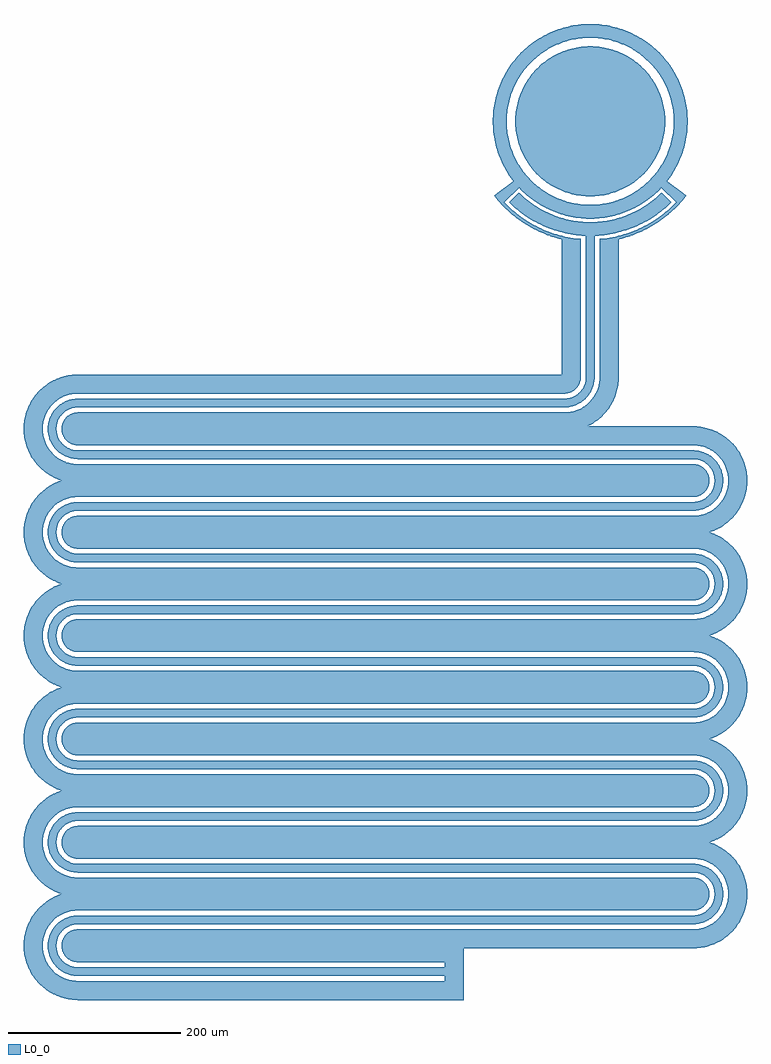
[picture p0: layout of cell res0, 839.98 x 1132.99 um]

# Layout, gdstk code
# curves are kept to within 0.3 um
import gdstk
lib = gdstk.Library(unit=1e-6, precision=1e-09)
def P(c, l, *ps):  # polygons
    for p in ps: c.add(gdstk.Polygon(p, *l))
L0_0 = (0, 0)

res0 = lib.new_cell('res0')
P(res0, L0_0, [(1405.092,2634.589),(1405.536,2629.823),(1427.825,2629.823),(1427.01,2637.093),(1427.81,2646.11),(1430.569,2654.731),(1434.503,2661.625),(1409.602,2661.625),(1407.296,2654.854),(1405.83,2648.192),(1405.092,2641.411)],
  [(1444.013,2630.957),(1443.113,2635.624),(1443.113,2640.376),(1444.013,2645.043),(1445.779,2649.456),(1448.349,2653.454),(1451.628,2656.894),(1455.5,2659.651),(1459.823,2661.625),(1442.189,2661.625),(1439.49,2658.302),(1436.891,2654.038),(1434.925,2649.447),(1433.356,2642.981),(1433.04,2636.335),(1433.971,2629.823),(1444.375,2629.823)],
  [(1916,2635),(2186.546,2635.164),(2193.313,2636.024),(2199.947,2637.611),(2206.372,2639.905),(2212.51,2642.881),(2218.29,2646.502),(2223.646,2650.728),(2228.512,2655.508),(2233.425,2661.625),(2200.905,2661.625),(2196.212,2659.542),(2190.997,2657.999),(2182,2657),(1467.16,2656.981),(1460.632,2655.513),(1456.969,2653.47),(1454.417,2651.286),(1452.29,2648.687),(1450.328,2644.979),(1449.005,2638.42),(1449.375,2634.242),(1450.854,2629.823),(1916,2629.823)],
  [(1435.153,2662.537),(1441.338,2669.147),(1448.823,2674.239),(1457.242,2677.564),(1466.186,2678.96),(2182,2679),(2188.586,2680.178),(2194.225,2683.46),(1424.392,2683.46),(1419.984,2678.785),(1415.856,2673.355),(1412.339,2667.51),(1409.602,2661.625),(1434.503,2661.625)],
  [(1460.957,2661.987),(1468,2663),(2183.665,2663.04),(2188.624,2663.632),(2193.447,2664.925),(2198.038,2666.891),(2201.651,2669.049),(2208.451,2675.08),(2211.444,2679.078),(2213.837,2683.46),(2202.335,2683.46),(2198.372,2679.106),(2193.456,2675.779),(2187.894,2673.705),(2182,2673),(1466.335,2672.96),(1459.748,2672.013),(1453.46,2669.837),(1447.698,2666.51),(1442.189,2661.625),(1459.823,2661.625)],
  [(2234.144,2662.645),(2239.646,2672.584),(2243.298,2683.46),(2220.326,2683.46),(2216.887,2676.462),(2212.55,2670.656),(2207.258,2665.704),(2200.905,2661.625),(2233.425,2661.625)],
  [(2194.355,2683.566),(2197.71,2687.313),(2200.22,2692.61),(2200.995,2698.42),(2199.963,2704.19),(2197.222,2709.371),(2193.031,2713.47),(2187.791,2716.096),(2182.84,2716.981),(1468,2717),(1459.128,2717.974),(1419.363,2717.974),(1426.354,2710.728),(1433.592,2705.226),(1441.547,2700.823),(1448.825,2698),(1441.547,2695.177),(1435.52,2691.982),(1429.874,2688.154),(1424.392,2683.46)],
  [(2214.493,2684.992),(2216.368,2691.376),(2216.96,2699.665),(2215.582,2707.861),(2213.109,2714.038),(2210.732,2717.974),(2197.022,2717.974),(2200.894,2714.372),(2203.651,2710.5),(2205.625,2706.177),(2206.746,2701.558),(2206.972,2696.81),(2206.295,2692.106),(2204.741,2687.615),(2202.335,2683.46),(2213.837,2683.46)],
  [(2243.762,2685.57),(2244.908,2694.589),(2244.908,2701.411),(2243.762,2710.43),(2241.739,2717.974),(2217.806,2717.974),(2221.316,2709.63),(2222.91,2700.719),(2222.509,2691.676),(2220.326,2683.46),(2243.298,2683.46)],
  [(1459.003,2717.999),(1450.445,2720.949),(1442.742,2725.704),(1436.271,2732.034),(1431.328,2739.666),(1407.736,2739.666),(1412.339,2728.49),(1415.856,2722.645),(1419.363,2717.974)],
  [(2210.51,2718.302),(2205.987,2723.482),(2199.5,2728.311),(2191.861,2731.582),(2183.665,2732.96),(1468,2733),(1463.269,2733.452),(1458.708,2734.791),(1454.484,2736.969),(1451.013,2739.666),(1438.197,2739.666),(1443.847,2732.669),(1450.5,2727.689),(1458.139,2724.418),(1466.335,2723.04),(2182,2723),(2185.558,2722.746),(2190.177,2721.625),(2193.456,2720.221),(2197.022,2717.974),(2210.732,2717.974)],
  [(2241.329,2719.191),(2239.646,2723.416),(2236.56,2729.5),(2232.834,2735.214),(2229.24,2739.666),(1463.015,2739.666),(1465.485,2739.167),(1468,2739),(2183.814,2738.96),(2189.219,2738.359),(2194.497,2737.049),(2199.555,2735.051),(2204.305,2732.402),(2208.662,2729.147),(2212.55,2725.344),(2214.847,2722.537),(2217.806,2717.974),(2241.739,2717.974)],
  [(1430.569,2741.269),(1427.81,2749.89),(1427.01,2758.907),(1428.208,2767.88),(1430.816,2775.252),(1407.414,2775.252),(1405.502,2765.941),(1405.01,2756.863),(1405.83,2747.808),(1407.736,2739.666),(1431.328,2739.666)],
  [(1450.748,2739.907),(1447.636,2743.499),(1445.259,2747.615),(1443.705,2752.106),(1443.028,2756.81),(1443.254,2761.558),(1444.375,2766.177),(1446.364,2770.525),(1449.907,2775.252),(1437.554,2775.252),(1434.418,2767.861),(1433.04,2759.665),(1433.509,2752.106),(1435.507,2744.992),(1438.197,2739.666)],
  [(2228.512,2740.492),(2221.912,2746.745),(2216.408,2750.774),(2208.453,2755.177),(2201.175,2758),(2208.453,2760.823),(2216.408,2765.226),(2221.912,2769.255),(2228.27,2775.252),(1460.048,2775.252),(1455.645,2772.434),(1452.29,2768.687),(1449.78,2763.39),(1449.005,2758.42),(1449.78,2752.61),(1452.778,2746.629),(1456.969,2742.53),(1463.015,2739.666),(2229.24,2739.666)],
  [(1431.346,2776.371),(1435.153,2782.537),(1441.338,2789.147),(1448.823,2794.239),(1456.295,2797.284),(1418.755,2797.284),(1412.339,2787.51),(1409.474,2781.319),(1407.414,2775.252),(1430.816,2775.252)],
  [(1450.748,2776.093),(1454.484,2779.031),(1458.708,2781.209),(1463.269,2782.548),(1468,2783),(2183.665,2783.04),(2191.861,2784.418),(2198.038,2786.891),(2204.92,2791.549),(2210.2,2797.284),(2195.981,2797.284),(2189.043,2794.013),(2182,2793),(1466.335,2792.96),(1459.748,2792.013),(1453.46,2789.837),(1447.698,2786.51),(1442.669,2782.153),(1437.554,2775.252),(1449.907,2775.252)],
  [(2228.512,2775.508),(2232.834,2780.786),(2236.56,2786.5),(2239.646,2792.584),(2241.489,2797.284),(2217.37,2797.284),(2214.847,2793.463),(2211.31,2789.331),(2207.258,2785.704),(2202.761,2782.645),(2197.899,2780.208),(2192.758,2778.436),(2183.814,2777.04),(1468,2777),(1463.831,2776.537),(1460.048,2775.252),(2228.27,2775.252)],
  [(1457.242,2797.564),(1462.573,2798.639),(1468,2799),(2182.84,2799.019),(2189.368,2800.487),(2193.031,2802.53),(2195.583,2804.714),(2197.71,2807.313),(2199.672,2811.021),(2200.773,2815.069),(2200.995,2818.42),(2199.672,2824.979),(2196.157,2830.672),(1426.42,2830.672),(1431.71,2826.502),(1437.49,2822.881),(1443.628,2819.905),(1448.825,2818),(1439.5,2814.185),(1431.71,2809.498),(1424.675,2803.738),(1418.755,2797.284)],
  [(2210.51,2797.698),(2213.837,2803.46),(2216.368,2811.376),(2217,2818),(2216.368,2824.624),(2214.618,2830.672),(2203.546,2830.672),(2205.625,2826.177),(2206.746,2821.558),(2206.972,2816.81),(2206.295,2812.106),(2204.741,2807.615),(2202.364,2803.499),(2199.252,2799.907),(2195.981,2797.284),(2210.2,2797.284)],
  [(2242.056,2798.965),(2243.762,2805.57),(2244.908,2814.589),(2244.743,2823.68),(2243.709,2830.672),(2220.983,2830.672),(2222.749,2822.526),(2222.749,2813.474),(2220.763,2804.642),(2217.37,2797.284),(2241.489,2797.284)],
  [(2195.583,2831.286),(2193.031,2833.47),(2189.368,2835.513),(2186.169,2836.537),(2182,2837),(1466.186,2837.04),(1457.242,2838.436),(1448.823,2841.761),(1441.338,2846.853),(1435.162,2853.452),(1409.989,2853.452),(1413.44,2846.5),(1417.166,2840.786),(1421.488,2835.508),(1426.42,2830.672),(2196.157,2830.672)],
  [(2214.493,2831.008),(2212.311,2835.5),(2209.512,2839.636),(2206.153,2843.331),(2202.302,2846.51),(2198.038,2849.109),(2193.447,2851.075),(2188.624,2852.368),(2183.665,2852.96),(1468,2853),(1463.269,2853.452),(1443.064,2853.452),(1449.078,2848.556),(1454.992,2845.507),(1461.376,2843.632),(1468,2843),(2183.19,2842.972),(2189.043,2841.987),(2194.5,2839.651),(2199.252,2836.093),(2203.546,2830.672),(2214.618,2830.672)],
  [(2243.273,2832.652),(2239.646,2843.416),(2234.076,2853.452),(2202.587,2853.452),(2208.662,2849.147),(2213.729,2843.966),(2217.806,2837.974),(2220.983,2830.672),(2243.709,2830.672)],
  [(1435.153,2853.463),(1431.346,2859.629),(1428.208,2868.12),(1427.01,2877.093),(1427.81,2886.11),(1405.527,2886.11),(1405.01,2879.137),(1405.502,2870.059),(1407.296,2861.146),(1409.989,2853.452)],
  [(1462.106,2853.705),(1456.544,2855.779),(1452.546,2858.349),(1449.106,2861.628),(1446.349,2865.5),(1444.375,2869.823),(1443.113,2875.624),(1443.113,2880.376),(1444.354,2886.11),(1433.956,2886.11),(1433,2878),(1433.987,2869.748),(1436.891,2861.962),(1441.549,2855.08),(1443.064,2853.452)],
  [(2232.834,2855.214),(2225.325,2863.738),(2218.29,2869.498),(2210.5,2874.185),(2201.175,2878),(2210.5,2881.815),(2217.712,2886.11),(1450.823,2886.11),(1449.56,2882.578),(1449.005,2878.42),(1449.227,2875.069),(1450.328,2871.021),(1452.29,2867.313),(1454.417,2864.714),(1456.969,2862.53),(1460.632,2860.487),(1467.16,2859.019),(2182,2859),(2187.427,2858.639),(2192.758,2857.564),(2197.899,2855.792),(2202.587,2853.452),(2234.076,2853.452)],
  [(1428.2,2887.846),(1430.569,2894.731),(1434.1,2901.06),(1438.69,2906.669),(1445.645,2912.368),(1415.212,2912.368),(1411.31,2905.481),(1408.671,2899.191),(1406.727,2892.652),(1405.527,2886.11),(1427.81,2886.11)],
  [(1444.375,2886.177),(1447.636,2892.501),(1452.546,2897.651),(1455.5,2899.651),(1459.823,2901.625),(1466.81,2902.972),(2182,2903),(2188.624,2903.632),(2195.008,2905.507),(2200.922,2908.556),(2205.822,2912.368),(1461.376,2912.368),(1454.992,2910.493),(1448.349,2906.951),(1442.669,2902.153),(1438.556,2896.922),(1435.507,2891.008),(1433.956,2886.11)],
  [(2218.29,2886.502),(2223.646,2890.728),(2230.016,2897.215),(2235.387,2904.551),(2239.546,2912.368),(2213.99,2912.368),(2208.662,2906.853),(2201.177,2901.761),(2192.758,2898.436),(2183.814,2897.04),(1468,2897),(1462.209,2896.096),(1457.664,2893.942),(1453.843,2890.672),(1450.823,2886.11),(2217.712,2886.11)],
  [(1445.695,2912.402),(1450.445,2915.051),(1456.295,2917.284),(1462.573,2918.639),(1468,2919),(2182.84,2919.019),(2189.368,2920.487),(2193.031,2922.53),(2195.583,2924.714),(2197.71,2927.313),(2199.672,2931.021),(2200.773,2935.069),(2200.995,2938.42),(2200.847,2940.376),(1442.56,2940.376),(1448.825,2938),(1439.5,2934.185),(1429.874,2928.154),(1421.488,2920.492),(1415.212,2912.368)],
  [(2205.987,2912.518),(2208.451,2915.08),(2210.51,2917.698),(2212.311,2920.5),(2213.837,2923.46),(2215.075,2926.553),(2216.013,2929.748),(2216.644,2933.019),(2216.96,2936.335),(2216.909,2940.376),(2206.887,2940.376),(2206.972,2936.81),(2206.746,2934.442),(2206.295,2932.106),(2205.625,2929.823),(2204.741,2927.615),(2203.651,2925.5),(2202.364,2923.499),(2200.894,2921.628),(2199.252,2919.907),(2197.454,2918.349),(2195.516,2916.969),(2193.456,2915.779),(2190.177,2914.375),(2187.894,2913.705),(2185.558,2913.254),(2183.19,2913.028),(1468,2913),(1464.673,2912.842),(1461.376,2912.368),(2205.822,2912.368)],
  [(2239.646,2912.584),(2242.056,2918.965),(2243.762,2925.57),(2244.743,2932.32),(2244.945,2940.376),(2222.925,2940.376),(2222.749,2933.474),(2221.316,2926.37),(2218.654,2919.629),(2213.99,2912.368)],
  [(2200.773,2940.931),(2198.593,2947.256),(2194.982,2951.873),(2189.368,2955.513),(2182.84,2956.981),(1468,2957),(1460.781,2957.641),(1453.788,2959.542),(1447.239,2962.645),(1440.404,2967.689),(1412.782,2967.689),(1418.543,2958.975),(1424.675,2952.262),(1433.592,2945.226),(1442.56,2940.376),(2200.847,2940.376)],
  [(2216.842,2941.327),(2215.075,2949.447),(2211.444,2956.922),(2206.153,2963.331),(2200.52,2967.689),(1450.5,2967.689),(1458.139,2964.418),(1463.019,2963.356),(1468,2963),(2183.19,2962.972),(2187.894,2962.295),(2192.385,2960.741),(2195.516,2959.031),(2199.252,2956.093),(2201.651,2953.454),(2204.221,2949.456),(2205.987,2945.043),(2206.887,2940.376),(2216.909,2940.376)],
  [(2244.908,2941.411),(2244.17,2948.192),(2242.704,2954.854),(2240.526,2961.319),(2237.562,2967.689),(2210.267,2967.689),(2215.9,2961.06),(2219.431,2954.731),(2221.792,2947.88),(2222.925,2940.376),(2244.945,2940.376)],
  [(1439.987,2968.063),(1435.153,2973.463),(1430.569,2981.269),(1427.81,2989.89),(1427.01,2998),(1405.01,2998),(1405.502,2990.059),(1406.727,2983.348),(1409.474,2974.681),(1412.782,2967.689),(1440.404,2967.689)],
  [(2199.5,2968.311),(2191.861,2971.582),(2186.981,2972.644),(2182,2973),(1466.81,2973.028),(1462.106,2973.705),(1457.615,2975.259),(1453.499,2977.636),(1449.907,2980.748),(1446.969,2984.484),(1444.791,2988.708),(1443.452,2993.269),(1443,2998),(1433,2998),(1433.356,2993.019),(1434.418,2988.139),(1437.689,2980.5),(1442.669,2973.847),(1446.364,2970.488),(1450.5,2967.689),(2200.52,2967.689)],
  [(2236.56,2969.5),(2230.016,2978.785),(2221.912,2986.745),(2212.51,2993.119),(2206.372,2996.095),(2201.175,2998),(1449.005,2998),(1449.375,2994.242),(1450.328,2991.021),(1452.29,2987.313),(1454.417,2984.714),(1456.969,2982.53),(1460.632,2980.487),(1467.16,2979.019),(2182,2979),(2190.135,2978.175),(2197.899,2975.792),(2204.305,2972.402),(2210.267,2967.689),(2237.562,2967.689)],
  [(1427.01,2998.907),(1428.208,3007.88),(1430.569,3014.731),(1435.153,3022.537),(1439.987,3027.937),(1412.575,3027.937),(1409.474,3021.319),(1406.727,3012.652),(1405.502,3005.941),(1405.01,2998),(1427.01,2998)],
  [(1443.028,2999.19),(1443.705,3003.894),(1445.259,3008.385),(1446.969,3011.516),(1449.907,3015.252),(1453.499,3018.364),(1457.615,3020.741),(1462.106,3022.295),(1466.81,3022.972),(2182,3023),(2186.981,3023.356),(2191.861,3024.418),(2199.907,3027.937),(1449.887,3027.937),(1443.847,3023.331),(1439.49,3018.302),(1436.163,3012.54),(1433.987,3006.252),(1433,2998),(1443,2998)],
  [(2201.177,2998.001),(2206.372,2999.905),(2212.51,3002.881),(2221.912,3009.255),(2230.016,3017.215),(2234.144,3022.645),(2237.355,3027.937),(2209.872,3027.937),(2202.761,3022.645),(2196.212,3019.542),(2189.219,3017.641),(2182,3017),(1467.16,3016.981),(1460.632,3015.513),(1456.969,3013.47),(1454.417,3011.286),(1452.29,3008.687),(1450.328,3004.979),(1449.005,2998.42),(1449.005,2998)],
  [(1441.338,3029.147),(1447.239,3033.355),(1453.788,3036.458),(1460.781,3038.359),(1468,3039),(2182.84,3039.019),(2189.368,3040.487),(2194.982,3044.127),(2198.593,3048.744),(2200.773,3055.069),(1441.324,3055.069),(1431.71,3049.498),(1424.675,3043.738),(1418.543,3037.025),(1412.575,3027.937),(1439.987,3027.937)],
  [(2200.922,3028.556),(2206.153,3032.669),(2210.51,3037.698),(2213.837,3043.46),(2216.013,3049.748),(2216.87,3055.069),(2206.821,3055.069),(2205.987,3050.957),(2204.221,3046.544),(2201.651,3042.546),(2199.252,3039.907),(2195.516,3036.969),(2192.385,3035.259),(2187.894,3033.705),(2183.19,3033.028),(1468,3033),(1463.019,3032.644),(1458.139,3031.582),(1449.887,3027.937),(2199.907,3027.937)],
  [(2237.661,3028.49),(2240.526,3034.681),(2242.704,3041.146),(2244.17,3047.808),(2244.925,3055.069),(2222.891,3055.069),(2221.316,3046.37),(2218.654,3039.629),(2214.847,3033.463),(2209.872,3027.937),(2237.355,3027.937)],
  [(2200.884,3055.903),(2200.884,3060.097),(2200.22,3063.39),(2198.593,3067.256),(2196.212,3070.608),(2193.705,3072.966),(2190.135,3075.17),(2186.169,3076.537),(2182.84,3076.981),(1468,3077),(1462.573,3077.361),(1455.503,3078.951),(1450.445,3080.949),(1444.441,3084.451),(1414.678,3084.451),(1421.488,3075.508),(1429.874,3067.846),(1439.5,3061.815),(1448.825,3058),(1441.324,3055.069),(2200.773,3055.069)],
  [(2216.96,3056.335),(2216.842,3061.327),(2216.368,3064.624),(2215.075,3069.447),(2213.837,3072.54),(2212.311,3075.5),(2209.512,3079.636),(2204.92,3084.451),(1458.036,3084.451),(1463.019,3083.356),(1468,3083),(2183.19,3082.972),(2187.894,3082.295),(2193.456,3080.221),(2197.454,3077.651),(2200.894,3074.372),(2204.221,3069.456),(2205.987,3065.043),(2206.887,3060.376),(2206.821,3055.069),(2216.87,3055.069)],
  [(2244.99,3056.863),(2244.743,3063.68),(2243.762,3070.43),(2242.056,3077.035),(2239.167,3084.451),(2213.314,3084.451),(2217.806,3077.974),(2220.763,3071.358),(2222.749,3062.526),(2222.891,3055.069),(2244.925,3055.069)],
  [(1444.195,3084.618),(1437.45,3090.656),(1432.194,3098.026),(1428.684,3106.37),(1427.183,3114.242),(1405.117,3114.242),(1406.238,3105.57),(1407.944,3098.965),(1411.31,3090.519),(1414.678,3084.451)],
  [(2203.636,3085.512),(2199.5,3088.311),(2193.447,3091.075),(2188.624,3092.368),(2182,3093),(1466.81,3093.028),(1462.106,3093.705),(1458.708,3094.791),(1455.5,3096.349),(1451.628,3099.106),(1449.106,3101.628),(1446.349,3105.5),(1444.375,3109.823),(1443.288,3114.242),(1433.21,3114.242),(1434.418,3108.139),(1436.163,3103.46),(1438.556,3099.078),(1441.549,3095.08),(1445.08,3091.549),(1449.078,3088.556),(1453.46,3086.163),(1458.036,3084.451),(2204.92,3084.451)],
  [(2238.69,3085.481),(2234.144,3093.355),(2226.948,3102.144),(2218.29,3109.498),(2210.382,3114.242),(1449.375,3114.242),(1451.407,3108.744),(1455.645,3103.566),(1461.414,3100.178),(1467.16,3099.019),(2182,3099),(2190.997,3098.001),(2199.555,3095.051),(2207.258,3090.296),(2213.314,3084.451),(2239.167,3084.451)],
  [(1427.09,3115.281),(1427.491,3124.324),(1429.237,3131.358),(1432.194,3137.974),(1437.181,3145.029),(1411.1,3145.029),(1407.944,3137.035),(1406.238,3130.43),(1405.092,3121.411),(1405.117,3114.242),(1427.183,3114.242)],
  [(1443.254,3114.442),(1443.028,3119.19),(1444.013,3125.043),(1445.779,3129.456),(1449.106,3134.372),(1452.546,3137.651),(1456.544,3140.221),(1462.106,3142.295),(1466.81,3142.972),(2182,3143),(2188.624,3143.632),(2193.726,3145.029),(1445.779,3145.029),(1440.488,3139.636),(1436.891,3134.038),(1434.418,3127.861),(1433.158,3121.327),(1433.21,3114.242)],
  [(2210.013,3114.421),(2201.175,3118),(2210.5,3121.815),(2220.126,3127.846),(2228.512,3135.508),(2235.674,3145.029),(2206.355,3145.029),(2201.177,3141.761),(2194.497,3138.951),(2187.427,3137.361),(2182,3137),(1467.16,3136.981),(1460.632,3135.513),(1456.969,3133.47),(1454.417,3131.286),(1452.29,3128.687),(1450.328,3124.979),(1449.005,3118.42),(1449.375,3114.242)],
  [(1437.45,3145.344),(1444.195,3151.382),(1452.101,3155.792),(1459.003,3158.001),(1468,3159),(2182.84,3159.019),(2188.586,3160.178),(2193.705,3163.034),(2197.71,3167.313),(2200.44,3173.422),(1438.061,3173.422),(1429.874,3168.154),(1423.052,3162.144),(1415.856,3153.355),(1411.1,3145.029),(1437.181,3145.029)],
  [(2194.5,3145.318),(2200.922,3148.556),(2206.153,3152.669),(2210.51,3157.698),(2213.837,3163.46),(2215.582,3168.139),(2216.692,3173.422),(2206.574,3173.422),(2205.625,3169.823),(2203.651,3165.5),(2200.894,3161.628),(2198.372,3159.106),(2194.5,3156.349),(2191.292,3154.791),(2187.894,3153.705),(2183.19,3153.028),(1468,3153),(1461.376,3152.368),(1456.553,3151.075),(1450.5,3148.311),(1445.779,3145.029)],
  [(2236.56,3146.5),(2239.646,3152.584),(2242.056,3158.965),(2243.762,3165.57),(2244.823,3173.422),(2222.742,3173.422),(2220.763,3164.642),(2217.806,3158.026),(2212.55,3150.656),(2206.355,3145.029),(2235.674,3145.029)],
  [(2200.625,3174.242),(2200.995,3177.58),(2200.625,3181.758),(2199.346,3185.754),(2197.222,3189.371),(2194.355,3192.434),(2190.887,3194.794),(2186.985,3196.334),(2182.84,3196.981),(1468,3197),(1462.573,3197.361),(1455.503,3198.951),(1450.445,3200.949),(1445.122,3203.987),(1414.981,3203.987),(1421.488,3195.508),(1429.874,3187.846),(1439.5,3181.815),(1448.825,3178),(1438.061,3173.422),(2200.44,3173.422)],
  [(2216.842,3174.673),(2217,3178),(2216.644,3182.981),(2215.582,3187.861),(2214.493,3191.008),(2212.311,3195.5),(2210.51,3198.302),(2208.451,3200.92),(2205.43,3203.987),(1459.748,3203.987),(1464.673,3203.158),(1468,3203),(2183.19,3202.972),(2187.894,3202.295),(2190.177,3201.625),(2193.456,3200.221),(2195.516,3199.031),(2198.372,3196.894),(2201.651,3193.454),(2204.221,3189.456),(2205.625,3186.177),(2206.295,3183.894),(2206.972,3179.19),(2206.972,3176.81),(2206.574,3173.422),(2216.692,3173.422)],
  [(2244.908,3174.589),(2244.908,3181.411),(2243.762,3190.43),(2242.056,3197.035),(2239.382,3203.987),(2213.711,3203.987),(2217.806,3197.974),(2221.316,3189.63),(2222.91,3180.719),(2222.742,3173.422),(2244.823,3173.422)],
  [(1444.195,3204.618),(1437.45,3210.656),(1432.194,3218.026),(1428.684,3226.37),(1427.165,3234.442),(1405.103,3234.442),(1406.238,3225.57),(1407.944,3218.965),(1411.31,3210.519),(1414.981,3203.987),(1445.122,3203.987)],
  [(2204.92,3204.451),(2199.5,3208.311),(2195.008,3210.493),(2188.624,3212.368),(2182,3213),(1466.81,3213.028),(1462.106,3213.705),(1458.708,3214.791),(1455.5,3216.349),(1451.628,3219.106),(1449.106,3221.628),(1446.349,3225.5),(1444.375,3229.823),(1443.254,3234.442),(1433.186,3234.442),(1434.418,3228.139),(1436.163,3223.46),(1438.556,3219.078),(1441.549,3215.08),(1445.779,3210.971),(1450.5,3207.689),(1454.992,3205.507),(1459.748,3203.987),(2205.43,3203.987)],
  [(2238.69,3205.481),(2234.144,3213.355),(2226.948,3222.144),(2218.29,3229.498),(2209.969,3234.442),(1449.339,3234.442),(1451.407,3228.744),(1455.645,3223.566),(1461.414,3220.178),(1467.16,3219.019),(2182,3219),(2190.997,3218.001),(2199.555,3215.051),(2207.258,3210.296),(2213.711,3203.987),(2239.382,3203.987)],
  [(1427.09,3235.281),(1427.491,3244.324),(1429.237,3251.358),(1433.113,3259.538),(1437.608,3265.512),(1411.326,3265.512),(1408.671,3259.191),(1406.238,3250.43),(1405.092,3241.411),(1405.103,3234.442),(1427.165,3234.442)],
  [(1443.113,3235.624),(1443.254,3241.558),(1444.375,3246.177),(1446.349,3250.5),(1449.106,3254.372),(1452.546,3257.651),(1456.544,3260.221),(1462.106,3262.295),(1466.81,3262.972),(2032.665,3263),(2039.289,3263.632),(2045.685,3265.512),(1446.364,3265.512),(1441.549,3260.92),(1437.689,3255.5),(1434.925,3249.447),(1433.158,3241.327),(1433.186,3234.442),(1443.254,3234.442)],
  [(2208.453,3235.177),(2197.756,3238.998),(2191.068,3240.344),(2184.274,3240.959),(2059.494,3241),(2067.426,3245.458),(2074.706,3251.079),(2081.09,3257.701),(2086.635,3265.512),(2057.672,3265.512),(2053.165,3262.493),(2046.688,3259.473),(2039.784,3257.623),(2032.665,3257),(1467.16,3256.981),(1460.632,3255.513),(1456.969,3253.47),(1454.417,3251.286),(1452.29,3248.687),(1450.328,3244.979),(1449.005,3238.42),(1449.339,3234.442),(2209.969,3234.442)],
  [(1438.69,3266.669),(1444.195,3271.382),(1452.101,3275.792),(1459.003,3278.001),(1468,3279),(2033.494,3279.018),(2039.936,3280.446),(2043.563,3282.436),(2046.1,3284.565),(2048.229,3287.102),(2050.219,3290.729),(2051.214,3293.888),(2051.659,3297.702),(1447.884,3297.702),(1441.547,3295.177),(1435.52,3291.982),(1426.354,3285.272),(1418.543,3277.025),(1414.613,3271.449),(1411.326,3265.512),(1437.608,3265.512)],
  [(2047.204,3266.163),(2052.967,3269.49),(2057.996,3273.847),(2062.976,3280.5),(2065.74,3286.553),(2067.032,3291.376),(2067.658,3297.702),(2057.658,3297.702),(2057.213,3293.269),(2055.874,3288.708),(2053.696,3284.484),(2050.758,3280.748),(2047.166,3277.636),(2043.05,3275.259),(2038.559,3273.705),(2033.854,3273.028),(1468,3273),(1461.376,3272.368),(1456.553,3271.075),(1450.5,3268.311),(1446.364,3265.512),(2045.685,3265.512)],
  [(2087.604,3267.167),(2090.647,3273.36),(2093.616,3282.065),(2094.993,3288.827),(2095.66,3297.702),(2073.658,3297.702),(2073.314,3292.648),(2072.268,3287.388),(2069.032,3279.068),(2064.073,3271.646),(2057.672,3265.512),(2086.635,3265.512)],
  [(2051.665,3298),(2051.665,3458.452),(2042.985,3459.421),(2033.274,3461.19),(2017.451,3465.676),(2008.256,3469.268),(1999.343,3473.512),(1990.759,3478.387),(1981.985,3484.284),(1975.364,3484.284),(1988.794,3474.9),(2000.633,3468.378),(2016.221,3461.869),(2029.665,3457.921),(2029.665,3301),(1468,3301),(1456.687,3299.976),(1447.884,3297.702)],
  [(2067.665,3298),(2067.665,3462.104),(2075.701,3462.64),(2085.403,3463.958),(2094.981,3465.986),(2104.385,3468.713),(2119.53,3474.769),(2128.22,3479.278),(2136.355,3484.284),(2100.468,3484.284),(2091.094,3481.506),(2082.667,3479.723),(2074.133,3478.563),(2062.665,3478),(2051.197,3478.563),(2042.662,3479.723),(2034.236,3481.506),(2024.862,3484.284),(1988.975,3484.284),(1997.109,3479.278),(2005.8,3474.769),(2020.945,3468.713),(2030.348,3465.986),(2039.927,3463.958),(2049.629,3462.64),(2057.665,3462.104),(2057.658,3297.702)],
  [(2067.215,3482.092),(2076.285,3482.824),(2085.268,3484.284),(2040.062,3484.284),(2046.037,3483.23),(2052.061,3482.499),(2061.148,3482.01)],
  [(2095.665,3298),(2095.665,3457.921),(2109.108,3461.869),(2124.696,3468.378),(2136.536,3474.9),(2149.966,3484.284),(2143.344,3484.284),(2134.571,3478.387),(2125.987,3473.512),(2117.074,3469.268),(2107.879,3465.676),(2092.056,3461.19),(2082.344,3459.421),(2073.665,3458.452),(2073.658,3297.702)],
  [(1979.902,3485.824),(1969.809,3494.269),(1962.796,3501.217),(1973.674,3511.432),(1954.93,3511.432),(1951.253,3508.58),(1962.387,3495.877),(1974.961,3484.596),(1981.985,3484.284)],
  [(2023.249,3484.839),(2012.641,3489.233),(2000.07,3496.152),(1990.683,3502.763),(1980.791,3511.432),(1979.096,3511.432),(1968.62,3500.955),(1978.291,3492.19),(1988.975,3484.284),(2024.862,3484.284)],
  [(2088.232,3484.93),(2102.735,3489.343),(2113.873,3494.269),(2126.856,3502.003),(2138.726,3511.432),(2111.898,3511.432),(2101.88,3506.28),(2089.652,3501.83),(2076.938,3499.056),(2063.967,3498.009),(2050.973,3498.707),(2038.189,3501.139),(2025.846,3505.26),(2013.432,3511.432),(1986.603,3511.432),(1996,3503.76),(2008.813,3495.657),(2022.594,3489.343),(2034.152,3485.657),(2040.062,3484.284),(2085.268,3484.284)],
  [(2136.556,3484.415),(2147.039,3492.19),(2156.71,3500.955),(2146.233,3511.432),(2144.539,3511.432),(2134.647,3502.763),(2125.26,3496.152),(2112.689,3489.233),(2100.468,3484.284)],
  [(2150.368,3484.596),(2162.942,3495.877),(2174.077,3508.58),(2170.4,3511.432),(2151.656,3511.432),(2162.534,3501.217),(2153.075,3492.068),(2143.344,3484.284)],
  [(1949.828,3588.935),(1951.655,3573.886),(1953.714,3565.021),(1956.48,3556.352),(1959.934,3547.933),(1964.054,3539.819),(1968.814,3532.063),(1973.385,3525.748),(1954.93,3511.432),(1973.674,3511.432),(1980.293,3517.648),(1986.603,3511.432),(2013.432,3511.432),(2005.439,3516.679),(1999.322,3521.537),(1993.617,3526.873),(1988.359,3532.65),(1983.582,3538.831),(1978.017,3547.632),(1974.48,3554.597),(1971.515,3561.824),(1969.141,3569.266),(1967.373,3576.875),(1965.979,3587.195),(1965.665,3595),(1965.979,3602.805),(1966.921,3610.56),(1968.483,3618.214),(1970.657,3625.717),(1953.928,3625.717),(1951.655,3616.114),(1950.316,3607.113),(1949.706,3598.034)],
  [(2152.854,3525.043),(2151.945,3525.748),(2159.758,3537.191),(2166.623,3550.708),(2170.772,3562.107),(2173.675,3573.886),(2175.502,3588.935),(2175.502,3601.065),(2174.202,3613.126),(2171.402,3625.717),(2154.673,3625.717),(2156.846,3618.214),(2158.409,3610.56),(2159.35,3602.805),(2159.665,3595),(2159.35,3587.195),(2158.409,3579.44),(2156.189,3569.266),(2153.815,3561.824),(2150.85,3554.597),(2147.313,3547.632),(2143.227,3540.974),(2136.971,3532.65),(2131.713,3526.873),(2126.007,3521.537),(2119.891,3516.679),(2111.898,3511.432),(2138.726,3511.432),(2145.036,3517.649),(2151.656,3511.432),(2170.4,3511.432)],
  [(2145.396,3512.269),(2144.539,3511.432),(2146.233,3511.432)],
  [(1979.933,3512.269),(1979.096,3511.432),(1980.791,3511.432)],
  [(2065.344,3508.041),(2073.356,3508.659),(2081.277,3510.014),(2089.039,3512.094),(2096.576,3514.881),(2103.824,3518.352),(2110.721,3522.477),(2119.269,3528.932),(2125.123,3534.436),(2130.445,3540.458),(2135.188,3546.944),(2139.313,3553.841),(2142.784,3561.089),(2146.344,3571.191),(2148.184,3579.014),(2149.294,3586.973),(2149.665,3595),(1975.665,3595),(1976.036,3586.973),(1977.146,3579.014),(1978.986,3571.191),(1982.546,3561.089),(1986.017,3553.841),(1990.141,3546.944),(1996.597,3538.396),(2002.101,3532.542),(2008.122,3527.22),(2016.865,3521.031),(2023.886,3517.121),(2031.237,3513.875),(2038.856,3511.321),(2046.679,3509.481),(2054.637,3508.371)],
  [(2149.624,3597.679),(2149.005,3605.691),(2147.651,3613.612),(2145.571,3621.374),(2142.784,3628.911),(2139.313,3636.159),(2135.188,3643.056),(2128.733,3651.604),(2123.229,3657.458),(2117.207,3662.78),(2110.721,3667.523),(2103.824,3671.648),(2094.093,3676.125),(2086.474,3678.679),(2078.651,3680.519),(2070.692,3681.629),(2059.986,3681.959),(2051.974,3681.341),(2044.053,3679.986),(2036.291,3677.906),(2028.753,3675.119),(2021.506,3671.648),(2014.609,3667.523),(2008.122,3662.78),(2000.207,3655.564),(1994.885,3649.542),(1990.141,3643.056),(1986.017,3636.159),(1982.546,3628.911),(1978.986,3618.809),(1977.146,3610.986),(1976.036,3603.027),(1975.665,3595),(2149.665,3595)],
  [(1451.014,2600.694),(1442.742,2605.704),(1436.271,2612.034),(1431.346,2619.629),(1429.237,2624.642),(1427.825,2629.823),(1405.536,2629.823),(1406.727,2623.348),(1408.671,2616.809),(1411.31,2610.519),(1414.613,2604.551),(1418.543,2598.975),(1423.052,2593.856),(1428.088,2589.255),(1433.592,2585.226),(1441.547,2580.823),(1451.014,2577.344)],
  [(1451.014,2619.665),(1446.969,2624.484),(1444.375,2629.823),(1433.971,2629.823),(1436.163,2623.46),(1439.49,2617.698),(1444.375,2612.189),(1450.5,2607.689),(1451.014,2607.408)],
  [(1451.014,2629.823),(1450.854,2629.823),(1450.89,2629.748),(1451.014,2629.487)],
  [(1916,2629.823),(1451.014,2629.823),(1453.843,2625.328),(1457.664,2622.058),(1462.209,2619.904),(1467.16,2619.019),(1894,2619),(1894,2613),(1468,2613),(1463.269,2613.452),(1458.708,2614.791),(1454.484,2616.969),(1451.014,2619.665),(1451.014,2607.408),(1458.139,2604.418),(1466.335,2603.04),(1894,2603),(1894,2597),(1468,2597),(1459.003,2597.999),(1451.014,2600.694),(1451.014,2577.344),(1458.932,2575.656),(1468,2575),(1916,2575)],
  [(1971.416,3627.893),(1975.596,3637.756),(1982.103,3649.026),(1990.059,3659.323),(1999.322,3668.463),(2005.439,3673.321),(2011.927,3677.672),(2018.744,3681.487),(2028.268,3685.697),(2038.189,3688.861),(2045.821,3690.526),(2056.158,3691.782),(2063.967,3691.991),(2063.967,3707.99),(2052.061,3707.501),(2043.043,3706.283),(2031.226,3703.539),(2022.594,3700.657),(2011.499,3695.753),(2003.558,3691.309),(1996,3686.24),(1988.874,3680.58),(1978.083,3669.933),(1968.814,3657.937),(1961.234,3644.808),(1955.48,3630.783),(1953.928,3625.717),(1970.657,3625.717)],
  [(2170.772,3627.893),(2167.774,3636.485),(2164.095,3644.808),(2159.758,3652.809),(2154.792,3660.434),(2149.228,3667.635),(2143.102,3674.365),(2136.455,3680.58),(2129.33,3686.24),(2121.772,3691.309),(2113.831,3695.753),(2105.557,3699.543),(2097.006,3702.655),(2088.232,3705.07),(2079.292,3706.77),(2063.967,3707.99),(2063.967,3691.991),(2076.938,3690.944),(2089.652,3688.17),(2101.88,3683.72),(2113.403,3677.672),(2119.891,3673.321),(2126.007,3668.463),(2133.517,3661.249),(2138.618,3655.333),(2143.227,3649.026),(2147.313,3642.368),(2151.903,3633.021),(2154.673,3625.717),(2171.402,3625.717)])

lib.write_gds('res0.gds')
